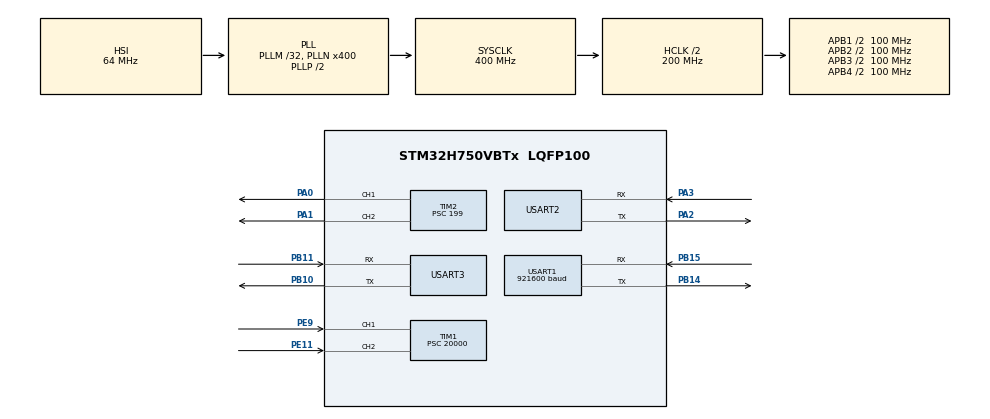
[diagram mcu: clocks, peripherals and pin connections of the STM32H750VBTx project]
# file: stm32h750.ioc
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CORTEX_M7.CPU_DCache=Enabled
CORTEX_M7.CPU_ICache=Enabled
Mcu.Family=STM32H7
Mcu.Name=STM32H750VBTx
Mcu.Package=LQFP100
NVIC.PriorityGroup=NVIC_PRIORITYGROUP_4
PA0.Signal=S_TIM2_CH1
PA1.Signal=S_TIM2_CH2
PA2.Mode=Asynchronous
PA2.Signal=USART2_TX
PA3.Mode=Asynchronous
PA3.Signal=USART2_RX
PB10.Mode=Asynchronous
PB10.Signal=USART3_TX
PB11.Mode=Asynchronous
PB11.Signal=USART3_RX
PB14.Mode=Asynchronous
PB14.Signal=USART1_TX
PB15.Mode=Asynchronous
PB15.Signal=USART1_RX
PE11.Signal=S_TIM1_CH2
PE9.Signal=S_TIM1_CH1
ProjectManager.HeapSize=0x200
ProjectManager.StackSize=0x400
ProjectManager.TargetToolchain=MDK-ARM V5.27
RCC.ADCFreq_Value=129000000
RCC.APB1Freq_Value=100000000
RCC.APB2Freq_Value=100000000
RCC.APB3Freq_Value=100000000
RCC.APB4Freq_Value=100000000
RCC.CortexFreq_Value=400000000
RCC.D1PPRE=RCC_APB3_DIV2
RCC.D2PPRE1=RCC_APB1_DIV2
RCC.D2PPRE2=RCC_APB2_DIV2
RCC.D3PPRE=RCC_APB4_DIV2
RCC.DIVN1=400
RCC.HCLKFreq_Value=200000000
RCC.HPRE=RCC_HCLK_DIV2
RCC.SYSCLKFreq_VALUE=400000000
RCC.SYSCLKSource=RCC_SYSCLKSOURCE_PLLCLK
RCC.USBFreq_Value=400000000
SH.S_TIM1_CH1.0=TIM1_CH1,Input_Capture1_from_TI1
SH.S_TIM1_CH2.0=TIM1_CH2,Input_Capture2_from_TI2
SH.S_TIM2_CH1.0=TIM2_CH1,PWM Generation1 CH1
SH.S_TIM2_CH2.0=TIM2_CH2,PWM Generation2 CH2
TIM1.AutoReloadPreload=TIM_AUTORELOAD_PRELOAD_ENABLE
TIM1.Channel-Input_Capture1_from_TI1=TIM_CHANNEL_1
TIM1.Channel-Input_Capture2_from_TI2=TIM_CHANNEL_2
TIM1.CounterMode=TIM_COUNTERMODE_UP
TIM1.Period=360
TIM1.Prescaler=20000
TIM2.Channel-PWM\ Generation1\ CH1=TIM_CHANNEL_1
TIM2.Channel-PWM\ Generation2\ CH2=TIM_CHANNEL_2
TIM2.Period=50000
TIM2.Prescaler=199
TIM2.Pulse-PWM\ Generation1\ CH1=1500
TIM2.Pulse-PWM\ Generation2\ CH2=1500
USART1.BaudRate=921600
USART1.VirtualMode-Asynchronous=VM_ASYNC
USART2.VirtualMode-Asynchronous=VM_ASYNC
USART3.VirtualMode-Asynchronous=VM_ASYNC
VP_TIM1_VS_ClockSourceINT.Mode=Internal
VP_TIM2_VS_ClockSourceINT.Mode=Internal
board=custom

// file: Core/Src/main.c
/* USER CODE BEGIN Header */
/**
  ******************************************************************************
  * @file           : main.c
  * @brief          : Main program body
  ******************************************************************************
  * @attention
  *
  * <h2><center>&copy; Copyright (c) 2021 STMicroelectronics.
  * All rights reserved.</center></h2>
  *
  * This software component is licensed by ST under BSD 3-Clause license,
  * the "License"; You may not use this file except in compliance with the
  * License. You may obtain a copy of the License at:
  *                        opensource.org/licenses/BSD-3-Clause
  *
  ******************************************************************************
  */
  /* USER CODE END Header */
  /* Includes ------------------------------------------------------------------*/
#include "main.h"

TIM_HandleTypeDef htim1;
TIM_HandleTypeDef htim2;

UART_HandleTypeDef huart1;
UART_HandleTypeDef huart2;
UART_HandleTypeDef huart3;

/* USER CODE BEGIN PV */

static inline volatile uint32_t angle2num(uint8_t angle)
{

}

/**
 * @brief 右转
 */
void TurnRight(uint8_t angle)
{
	volatile uint32_t num = angle2num(angle);
	TIM2->CCR1 = 1500 + num;
	TIM2->CCR2 = 1500 - num;
}

/**
 * @brief 左转
 */
void TurnLeft(uint8_t angle)
{
	volatile uint32_t num = angle2num(angle);
	TIM2->CCR1 = 1500 - num;
	TIM2->CCR2 = 1500 + num;
}
/* USER CODE END PV */

void SystemClock_Config(void);
static void MX_GPIO_Init(void);
static void MX_TIM1_Init(void);
static void MX_TIM2_Init(void);
static void MX_USART1_UART_Init(void);
static void MX_USART2_UART_Init(void);
static void MX_USART3_UART_Init(void);

int main(void)
{

	/* Enable I-Cache---------------------------------------------------------*/
	SCB_EnableICache();

	/* Enable D-Cache---------------------------------------------------------*/
	SCB_EnableDCache();

	/* MCU Configuration--------------------------------------------------------*/

	/* Reset of all peripherals, Initializes the Flash interface and the Systick. */
	HAL_Init();

	/* Configure the system clock */
	SystemClock_Config();

	/* Initialize all configured peripherals */
	MX_GPIO_Init();
	MX_TIM1_Init();
	MX_TIM2_Init();
	MX_USART1_UART_Init();
	MX_USART2_UART_Init();
	MX_USART3_UART_Init();
	/* USER CODE BEGIN 2 */
	HAL_TIM_PWM_Start(&htim2, TIM_CHANNEL_1);
	HAL_TIM_PWM_Start(&htim2, TIM_CHANNEL_2);
	PowerOn(); //继电器开启
	/* USER CODE END 2 */

	/* Infinite loop */
	/* USER CODE BEGIN WHILE */
	while (1)
	{
		Control(); //远程控制
		if (Condition())
		{
			TurnRight(); //小车左转
		}
		else
		{
			TurnLeft(); //小车右转
		}
		/* USER CODE END WHILE */
		/* USER CODE BEGIN 3 */
	}
	return 0;
	/* USER CODE END 3 */
}

void SystemClock_Config(void)
{
	RCC_OscInitTypeDef RCC_OscInitStruct = { 0 };
	RCC_ClkInitTypeDef RCC_ClkInitStruct = { 0 };

	/** Supply configuration update enable
	*/
	HAL_PWREx_ConfigSupply(PWR_LDO_SUPPLY);
	/** Configure the main internal regulator output voltage
	*/
	__HAL_PWR_VOLTAGESCALING_CONFIG(PWR_REGULATOR_VOLTAGE_SCALE1);

	while (!__HAL_PWR_GET_FLAG(PWR_FLAG_VOSRDY)) {}
	/** Initializes the RCC Oscillators according to the specified parameters
	* in the RCC_OscInitTypeDef structure.
	*/
	RCC_OscInitStruct.OscillatorType = RCC_OSCILLATORTYPE_HSI;
	RCC_OscInitStruct.HSIState = RCC_HSI_DIV1;
	RCC_OscInitStruct.HSICalibrationValue = RCC_HSICALIBRATION_DEFAULT;
	RCC_OscInitStruct.PLL.PLLState = RCC_PLL_ON;
	RCC_OscInitStruct.PLL.PLLSource = RCC_PLLSOURCE_HSI;
	RCC_OscInitStruct.PLL.PLLM = 32;
	RCC_OscInitStruct.PLL.PLLN = 400;
	RCC_OscInitStruct.PLL.PLLP = 2;
	RCC_OscInitStruct.PLL.PLLQ = 2;
	RCC_OscInitStruct.PLL.PLLR = 2;
	RCC_OscInitStruct.PLL.PLLRGE = RCC_PLL1VCIRANGE_1;
	RCC_OscInitStruct.PLL.PLLVCOSEL = RCC_PLL1VCOWIDE;
	RCC_OscInitStruct.PLL.PLLFRACN = 0;
	if (HAL_RCC_OscConfig(&RCC_OscInitStruct) != HAL_OK)
	{
		Error_Handler();
	}
	/** Initializes the CPU, AHB and APB buses clocks
	*/
	RCC_ClkInitStruct.ClockType = RCC_CLOCKTYPE_HCLK | RCC_CLOCKTYPE_SYSCLK
		| RCC_CLOCKTYPE_PCLK1 | RCC_CLOCKTYPE_PCLK2
		| RCC_CLOCKTYPE_D3PCLK1 | RCC_CLOCKTYPE_D1PCLK1;
	RCC_ClkInitStruct.SYSCLKSource = RCC_SYSCLKSOURCE_PLLCLK;
	RCC_ClkInitStruct.SYSCLKDivider = RCC_SYSCLK_DIV1;
	RCC_ClkInitStruct.AHBCLKDivider = RCC_HCLK_DIV2;
	RCC_ClkInitStruct.APB3CLKDivider = RCC_APB3_DIV2;
	RCC_ClkInitStruct.APB1CLKDivider = RCC_APB1_DIV2;
	RCC_ClkInitStruct.APB2CLKDivider = RCC_APB2_DIV2;
	RCC_ClkInitStruct.APB4CLKDivider = RCC_APB4_DIV2;

	if (HAL_RCC_ClockConfig(&RCC_ClkInitStruct, FLASH_LATENCY_2) != HAL_OK)
	{
		Error_Handler();
	}
}

static void MX_TIM1_Init(void)
{

	TIM_ClockConfigTypeDef sClockSourceConfig = { 0 };
	TIM_MasterConfigTypeDef sMasterConfig = { 0 };
	TIM_IC_InitTypeDef sConfigIC = { 0 };

	htim1.Instance = TIM1;
	htim1.Init.Prescaler = 20000;
	htim1.Init.CounterMode = TIM_COUNTERMODE_UP;
	htim1.Init.Period = 360;
	htim1.Init.ClockDivision = TIM_CLOCKDIVISION_DIV1;
	htim1.Init.RepetitionCounter = 0;
	htim1.Init.AutoReloadPreload = TIM_AUTORELOAD_PRELOAD_ENABLE;
	if (HAL_TIM_Base_Init(&htim1) != HAL_OK)
	{
		Error_Handler();
	}
	sClockSourceConfig.ClockSource = TIM_CLOCKSOURCE_INTERNAL;
	if (HAL_TIM_ConfigClockSource(&htim1, &sClockSourceConfig) != HAL_OK)
	{
		Error_Handler();
	}
	if (HAL_TIM_IC_Init(&htim1) != HAL_OK)
	{
		Error_Handler();
	}
	sMasterConfig.MasterOutputTrigger = TIM_TRGO_RESET;
	sMasterConfig.MasterOutputTrigger2 = TIM_TRGO2_RESET;
	sMasterConfig.MasterSlaveMode = TIM_MASTERSLAVEMODE_DISABLE;
	if (HAL_TIMEx_MasterConfigSynchronization(&htim1, &sMasterConfig) != HAL_OK)
	{
		Error_Handler();
	}
	sConfigIC.ICPolarity = TIM_INPUTCHANNELPOLARITY_RISING;
	sConfigIC.ICSelection = TIM_ICSELECTION_DIRECTTI;
	sConfigIC.ICPrescaler = TIM_ICPSC_DIV1;
	sConfigIC.ICFilter = 0;
	if (HAL_TIM_IC_ConfigChannel(&htim1, &sConfigIC, TIM_CHANNEL_1) != HAL_OK)
	{
		Error_Handler();
	}
	if (HAL_TIM_IC_ConfigChannel(&htim1, &sConfigIC, TIM_CHANNEL_2) != HAL_OK)
	{
		Error_Handler();
	}

}

static void MX_TIM2_Init(void)
{

	TIM_ClockConfigTypeDef sClockSourceConfig = { 0 };
	TIM_MasterConfigTypeDef sMasterConfig = { 0 };
	TIM_OC_InitTypeDef sConfigOC = { 0 };

	htim2.Instance = TIM2;
	htim2.Init.Prescaler = 199;
	htim2.Init.CounterMode = TIM_COUNTERMODE_UP;
	htim2.Init.Period = 50000;
	htim2.Init.ClockDivision = TIM_CLOCKDIVISION_DIV1;
	htim2.Init.AutoReloadPreload = TIM_AUTORELOAD_PRELOAD_DISABLE;
	if (HAL_TIM_Base_Init(&htim2) != HAL_OK)
	{
		Error_Handler();
	}
	sClockSourceConfig.ClockSource = TIM_CLOCKSOURCE_INTERNAL;
	if (HAL_TIM_ConfigClockSource(&htim2, &sClockSourceConfig) != HAL_OK)
	{
		Error_Handler();
	}
	if (HAL_TIM_PWM_Init(&htim2) != HAL_OK)
	{
		Error_Handler();
	}
	sMasterConfig.MasterOutputTrigger = TIM_TRGO_RESET;
	sMasterConfig.MasterSlaveMode = TIM_MASTERSLAVEMODE_DISABLE;
	if (HAL_TIMEx_MasterConfigSynchronization(&htim2, &sMasterConfig) != HAL_OK)
	{
		Error_Handler();
	}
	sConfigOC.OCMode = TIM_OCMODE_PWM1;
	sConfigOC.Pulse = 1500;
	sConfigOC.OCPolarity = TIM_OCPOLARITY_HIGH;
	sConfigOC.OCFastMode = TIM_OCFAST_DISABLE;
	if (HAL_TIM_PWM_ConfigChannel(&htim2, &sConfigOC, TIM_CHANNEL_1) != HAL_OK)
	{
		Error_Handler();
	}
	if (HAL_TIM_PWM_ConfigChannel(&htim2, &sConfigOC, TIM_CHANNEL_2) != HAL_OK)
	{
		Error_Handler();
	}
	HAL_TIM_MspPostInit(&htim2);

}

static void MX_USART1_UART_Init(void)
{

	huart1.Instance = USART1;
	huart1.Init.BaudRate = 921600;
	huart1.Init.WordLength = UART_WORDLENGTH_8B;
	huart1.Init.StopBits = UART_STOPBITS_1;
	huart1.Init.Parity = UART_PARITY_NONE;
	huart1.Init.Mode = UART_MODE_TX_RX;
	huart1.Init.HwFlowCtl = UART_HWCONTROL_NONE;
	huart1.Init.OverSampling = UART_OVERSAMPLING_16;
	huart1.Init.OneBitSampling = UART_ONE_BIT_SAMPLE_DISABLE;
	huart1.Init.ClockPrescaler = UART_PRESCALER_DIV1;
	huart1.AdvancedInit.AdvFeatureInit = UART_ADVFEATURE_NO_INIT;
	if (HAL_UART_Init(&huart1) != HAL_OK)
	{
		Error_Handler();
	}
	if (HAL_UARTEx_SetTxFifoThreshold(&huart1, UART_TXFIFO_THRESHOLD_1_8) != HAL_OK)
	{
		Error_Handler();
	}
	if (HAL_UARTEx_SetRxFifoThreshold(&huart1, UART_RXFIFO_THRESHOLD_1_8) != HAL_OK)
	{
		Error_Handler();
	}
	if (HAL_UARTEx_DisableFifoMode(&huart1) != HAL_OK)
	{
		Error_Handler();
	}

}

static void MX_USART2_UART_Init(void)
{

	huart2.Instance = USART2;
	huart2.Init.BaudRate = 115200;
	huart2.Init.WordLength = UART_WORDLENGTH_8B;
	huart2.Init.StopBits = UART_STOPBITS_1;
	huart2.Init.Parity = UART_PARITY_NONE;
	huart2.Init.Mode = UART_MODE_TX_RX;
	huart2.Init.HwFlowCtl = UART_HWCONTROL_NONE;
	huart2.Init.OverSampling = UART_OVERSAMPLING_16;
	huart2.Init.OneBitSampling = UART_ONE_BIT_SAMPLE_DISABLE;
	huart2.Init.ClockPrescaler = UART_PRESCALER_DIV1;
	huart2.AdvancedInit.AdvFeatureInit = UART_ADVFEATURE_NO_INIT;
	if (HAL_UART_Init(&huart2) != HAL_OK)
	{
		Error_Handler();
	}
	if (HAL_UARTEx_SetTxFifoThreshold(&huart2, UART_TXFIFO_THRESHOLD_1_8) != HAL_OK)
	{
		Error_Handler();
	}
	if (HAL_UARTEx_SetRxFifoThreshold(&huart2, UART_RXFIFO_THRESHOLD_1_8) != HAL_OK)
	{
		Error_Handler();
	}
	if (HAL_UARTEx_DisableFifoMode(&huart2) != HAL_OK)
	{
		Error_Handler();
	}

}

static void MX_USART3_UART_Init(void)
{

	huart3.Instance = USART3;
	huart3.Init.BaudRate = 115200;
	huart3.Init.WordLength = UART_WORDLENGTH_8B;
	huart3.Init.StopBits = UART_STOPBITS_1;
	huart3.Init.Parity = UART_PARITY_NONE;
	huart3.Init.Mode = UART_MODE_TX_RX;
	huart3.Init.HwFlowCtl = UART_HWCONTROL_NONE;
	huart3.Init.OverSampling = UART_OVERSAMPLING_16;
	huart3.Init.OneBitSampling = UART_ONE_BIT_SAMPLE_DISABLE;
	huart3.Init.ClockPrescaler = UART_PRESCALER_DIV1;
	huart3.AdvancedInit.AdvFeatureInit = UART_ADVFEATURE_NO_INIT;
	if (HAL_UART_Init(&huart3) != HAL_OK)
	{
		Error_Handler();
	}
	if (HAL_UARTEx_SetTxFifoThreshold(&huart3, UART_TXFIFO_THRESHOLD_1_8) != HAL_OK)
	{
		Error_Handler();
	}
	if (HAL_UARTEx_SetRxFifoThreshold(&huart3, UART_RXFIFO_THRESHOLD_1_8) != HAL_OK)
	{
		Error_Handler();
	}
	if (HAL_UARTEx_DisableFifoMode(&huart3) != HAL_OK)
	{
		Error_Handler();
	}

}

static void MX_GPIO_Init(void)
{

	/* GPIO Ports Clock Enable */
	__HAL_RCC_GPIOA_CLK_ENABLE();
	__HAL_RCC_GPIOE_CLK_ENABLE();
	__HAL_RCC_GPIOB_CLK_ENABLE();

}

void Error_Handler(void)
{
	__disable_irq();
	while (1)
	{
	}
}

/************************ (C) COPYRIGHT STMicroelectronics *****END OF FILE****/
